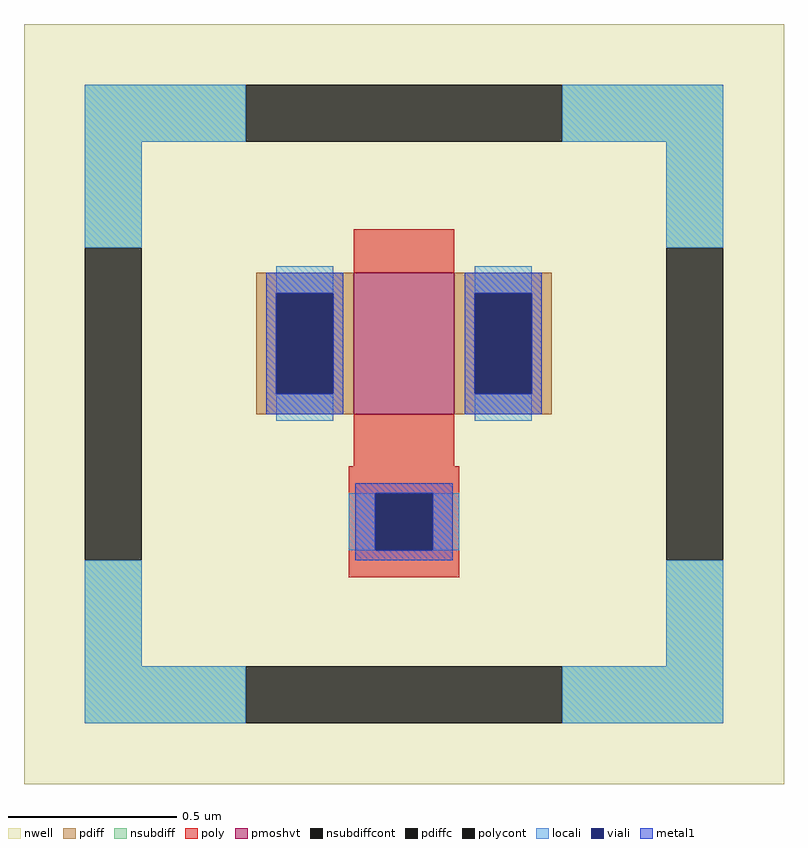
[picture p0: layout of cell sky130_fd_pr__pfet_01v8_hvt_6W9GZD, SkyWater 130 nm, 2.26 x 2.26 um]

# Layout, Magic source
magic
tech sky130A
magscale 1 2
<< nwell >>
rect -226 -226 226 226
<< pmoshvt >>
rect -30 -6 30 78
<< pdiff >>
rect -88 66 -30 78
rect -88 6 -76 66
rect -42 6 -30 66
rect -88 -6 -30 6
rect 30 66 88 78
rect 30 6 42 66
rect 76 6 88 66
rect 30 -6 88 6
<< pdiffc >>
rect -76 6 -42 66
rect 42 6 76 66
<< nsubdiff >>
rect -190 156 -94 190
rect 94 156 190 190
rect -190 93 -156 156
rect 156 93 190 156
rect -190 -156 -156 -93
rect 156 -156 190 -93
rect -190 -190 -94 -156
rect 94 -190 190 -156
<< nsubdiffcont >>
rect -94 156 94 190
rect -190 -93 -156 93
rect 156 -93 190 93
rect -94 -190 94 -156
<< poly >>
rect -30 78 30 104
rect -30 -37 30 -6
rect -33 -53 33 -37
rect -33 -87 -17 -53
rect 17 -87 33 -53
rect -33 -103 33 -87
<< polycont >>
rect -17 -87 17 -53
<< locali >>
rect -190 156 -94 190
rect 94 156 190 190
rect -190 93 -156 156
rect 156 93 190 156
rect -76 66 -42 82
rect -76 -10 -42 6
rect 42 66 76 82
rect 42 -10 76 6
rect -33 -87 -17 -53
rect 17 -87 33 -53
rect -190 -156 -156 -93
rect 156 -156 190 -93
rect -190 -190 -94 -156
rect 94 -190 190 -156
<< viali >>
rect -76 6 -42 66
rect 42 6 76 66
rect -17 -87 17 -53
<< metal1 >>
rect -82 66 -36 78
rect -82 6 -76 66
rect -42 6 -36 66
rect -82 -6 -36 6
rect 36 66 82 78
rect 36 6 42 66
rect 76 6 82 66
rect 36 -6 82 6
rect -29 -53 29 -47
rect -29 -87 -17 -53
rect 17 -87 29 -53
rect -29 -93 29 -87
<< properties >>
string FIXED_BBOX -173 -173 173 173
string gencell sky130_fd_pr__pfet_01v8_hvt
string library sky130
string parameters w 0.42 l 0.3 m 1 nf 1 diffcov 100 polycov 100 guard 1 glc 1 grc 1 gtc 1 gbc 1 tbcov 100 rlcov 100 topc 0 botc 1 poverlap 0 doverlap 1 lmin 0.15 wmin 0.42 compatible {sky130_fd_pr__pfet_01v8  sky130_fd_pr__pfet_01v8_lvt sky130_fd_pr__pfet_01v8_hvt  sky130_fd_pr__pfet_g5v0d10v5} full_metal 1 viasrc 100 viadrn 100 viagate 100 viagb 0 viagr 0 viagl 0 viagt 0
<< end >>
